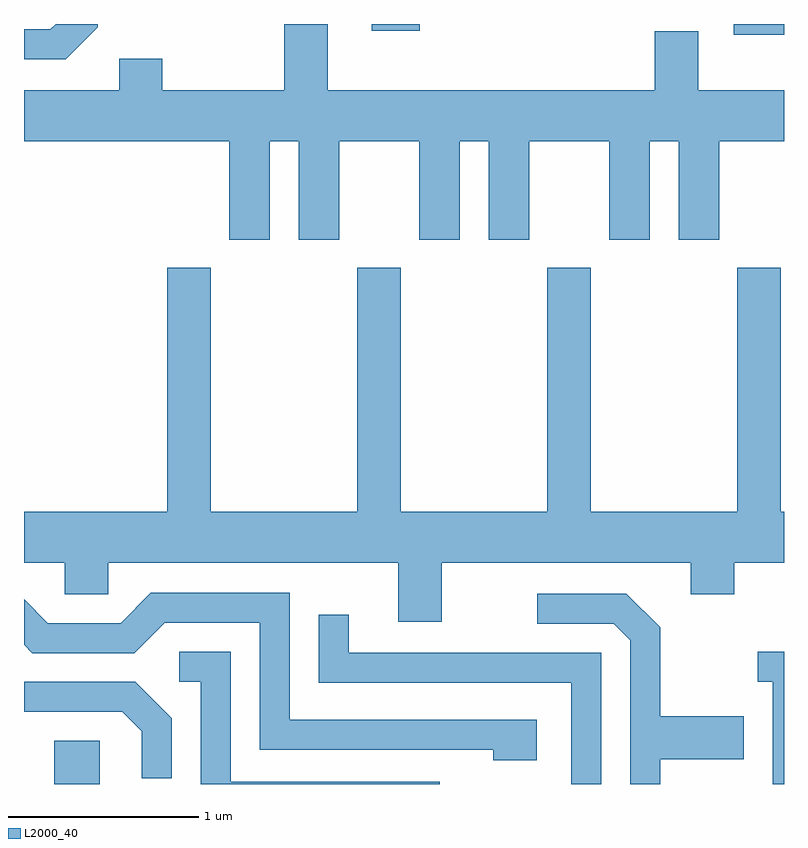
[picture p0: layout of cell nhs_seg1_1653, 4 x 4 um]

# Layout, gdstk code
import gdstk
lib = gdstk.Library(unit=1e-6, precision=1e-09)
def R(c, l, rs):  # rectangles x0, y0, x1, y1
    for r in rs: c.add(gdstk.rectangle(r[:2], r[2:], *l))
def P(c, l, *ps):  # polygons
    for p in ps: c.add(gdstk.Polygon(p, *l))
L2000_40 = (2000, 40)

nhs_seg1_1653 = lib.new_cell('nhs_seg1_1653')
R(nhs_seg1_1653, L2000_40, [(235.771,931.712,236.009,931.939), (239.346,935.656,239.611,935.712), (237.441,935.676,237.694,935.712)])
P(nhs_seg1_1653, L2000_40, [(236.904,935.096),(237.056,935.096),(237.056,934.576),(237.269,934.576),(237.269,935.096),(237.691,935.096),(237.691,934.576),(237.904,934.576),(237.904,935.096),(238.056,935.096),(238.056,934.576),(238.269,934.576),(238.269,935.096),(238.691,935.096),(238.691,934.576),(238.904,934.576),(238.904,935.096),(239.056,935.096),(239.056,934.576),(239.269,934.576),(239.269,935.096),(239.611,935.096),(239.611,935.364),(239.159,935.364),(239.159,935.674),(238.931,935.674),(238.931,935.364),(237.209,935.364),(237.209,935.712),(236.981,935.712),(236.981,935.364),(236.339,935.364),(236.339,935.529),(236.111,935.529),(236.111,935.364),(235.611,935.364),(235.611,935.096),(236.691,935.096),(236.691,934.576),(236.904,934.576)],
  [(235.999,935.694),(235.999,935.712),(235.777,935.712),(235.749,935.684),(235.611,935.684),(235.611,935.526),(235.832,935.526)],
  [(239.611,933.144),(239.594,933.144),(239.594,934.429),(239.366,934.429),(239.366,933.144),(238.594,933.144),(238.594,934.429),(238.366,934.429),(238.366,933.144),(237.594,933.144),(237.594,934.429),(237.366,934.429),(237.366,933.144),(236.594,933.144),(236.594,934.429),(236.366,934.429),(236.366,933.144),(235.611,933.144),(235.611,932.876),(235.826,932.876),(235.826,932.711),(236.054,932.711),(236.054,932.876),(237.581,932.876),(237.581,932.566),(237.809,932.566),(237.809,932.876),(239.121,932.876),(239.121,932.711),(239.349,932.711),(239.349,932.876),(239.611,932.876)],
  [(238.309,932.049),(237.009,932.049),(237.009,932.719),(236.279,932.719),(236.119,932.559),(235.737,932.559),(235.611,932.685),(235.611,932.444),(235.654,932.401),(236.192,932.401),(236.352,932.561),(236.851,932.561),(236.851,931.891),(238.081,931.891),(238.081,931.836),(238.309,931.836)],
  [(238.959,931.841),(239.399,931.841),(239.399,932.069),(238.959,932.069),(238.959,932.537),(238.782,932.714),(238.313,932.714),(238.313,932.556),(238.714,932.556),(238.801,932.469),(238.801,931.712),(238.959,931.712)],
  [(238.649,932.404),(237.319,932.404),(237.319,932.603),(237.161,932.603),(237.161,932.246),(238.491,932.246),(238.491,931.712),(238.649,931.712)],
  [(239.611,932.409),(239.473,932.409),(239.473,932.251),(239.551,932.251),(239.551,931.712),(239.611,931.712)],
  [(237.798,931.724),(236.699,931.724),(236.699,932.409),(236.428,932.409),(236.428,932.251),(236.541,932.251),(236.541,931.712),(237.798,931.712)],
  [(236.389,932.057),(236.197,932.249),(235.611,932.249),(235.611,932.091),(236.129,932.091),(236.231,931.989),(236.231,931.743),(236.389,931.743)])

lib.write_gds('nhs_seg1_1653.gds')
